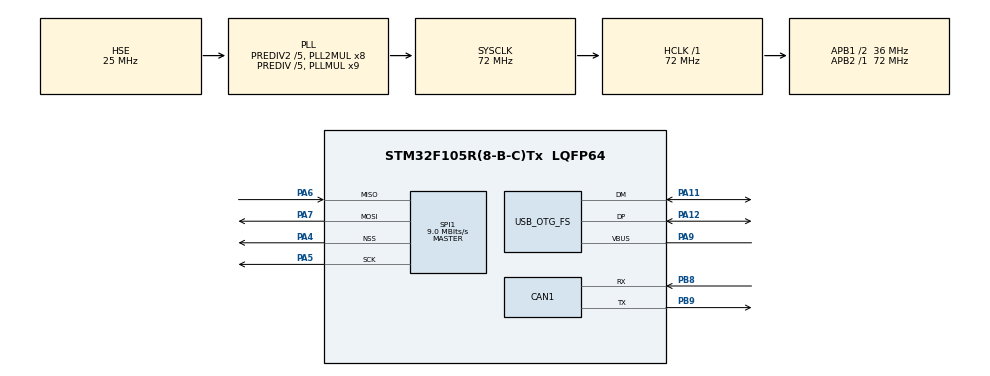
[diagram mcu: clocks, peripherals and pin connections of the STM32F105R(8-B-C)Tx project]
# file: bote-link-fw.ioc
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CAN1.CalculateTimeBit=1333
CAN1.CalculateTimeQuantum=444.44444444444446
Mcu.Family=STM32F1
Mcu.Name=STM32F105R(8-B-C)Tx
Mcu.Package=LQFP64
NVIC.OTG_FS_IRQn=true\:0\:0\:false\:false\:true\:false\:true
NVIC.PriorityGroup=NVIC_PRIORITYGROUP_4
PA11.Mode=Device_Only
PA11.Signal=USB_OTG_FS_DM
PA12.Mode=Device_Only
PA12.Signal=USB_OTG_FS_DP
PA13.Mode=Trace_Asynchronous_SW
PA13.Signal=SYS_JTMS-SWDIO
PA14.Mode=Trace_Asynchronous_SW
PA14.Signal=SYS_JTCK-SWCLK
PA4.Mode=NSS_Signal_Hard_Output
PA4.Signal=SPI1_NSS
PA5.Mode=Full_Duplex_Master
PA5.Signal=SPI1_SCK
PA6.Mode=Full_Duplex_Master
PA6.Signal=SPI1_MISO
PA7.Mode=Full_Duplex_Master
PA7.Signal=SPI1_MOSI
PA9.Mode=Activate_VBUS
PA9.Signal=USB_OTG_FS_VBUS
PB3.Mode=Trace_Asynchronous_SW
PB3.Signal=SYS_TRACESWO
PB8.Mode=Master
PB8.Signal=CAN1_RX
PB9.Mode=Master
PB9.Signal=CAN1_TX
PD0-OSC_IN.Mode=HSE-External-Oscillator
PD0-OSC_IN.Signal=RCC_OSC_IN
PD1-OSC_OUT.Mode=HSE-External-Oscillator
PD1-OSC_OUT.Signal=RCC_OSC_OUT
ProjectManager.HeapSize=0x200
ProjectManager.StackSize=0x400
ProjectManager.TargetToolchain=Makefile
RCC.AHBFreq_Value=72000000
RCC.APB1CLKDivider=RCC_HCLK_DIV2
RCC.APB1Freq_Value=36000000
RCC.APB1TimFreq_Value=72000000
RCC.APB2Freq_Value=72000000
RCC.APB2TimFreq_Value=72000000
RCC.HCLKFreq_Value=72000000
RCC.HSEDivPLL=RCC_HSE_PREDIV_DIV5
RCC.HSE_VALUE=25000000
RCC.PLLMUL=RCC_PLL_MUL9
RCC.Prediv1Source=RCC_PREDIV1_SOURCE_PLL2
RCC.Prediv2=RCC_HSE_PREDIV2_DIV5
RCC.SYSCLKFreq_VALUE=72000000
RCC.SYSCLKSource=RCC_SYSCLKSOURCE_PLLCLK
RCC.USBFreq_Value=48000000
SPI1.BaudRatePrescaler=SPI_BAUDRATEPRESCALER_8
SPI1.CalculateBaudRate=9.0 MBits/s
SPI1.Direction=SPI_DIRECTION_2LINES
SPI1.Mode=SPI_MODE_MASTER
SPI1.VirtualNSS=VM_NSSHARD
SPI1.VirtualType=VM_MASTER
USB_DEVICE.CLASS_NAME_FS=CDC
USB_DEVICE.VirtualMode=Cdc
USB_DEVICE.VirtualModeFS=Cdc_FS
USB_OTG_FS.VirtualMode=Device_Only
VP_FATFS_VS_Generic.Mode=User_defined
VP_USB_DEVICE_VS_USB_DEVICE_CDC_FS.Mode=CDC_FS
board=custom

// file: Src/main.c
/* USER CODE BEGIN Header */
/**
  ******************************************************************************
  * @file           : main.c
  * @brief          : Main program body
  ******************************************************************************
  * @attention
  *
  * <h2><center>&copy; Copyright (c) 2020 STMicroelectronics.
  * All rights reserved.</center></h2>
  *
  * This software component is licensed by ST under Ultimate Liberty license
  * SLA0044, the "License"; You may not use this file except in compliance with
  * the License. You may obtain a copy of the License at:
  *                             www.st.com/SLA0044
  *
  ******************************************************************************
  */
/* USER CODE END Header */

#include "main.h"
#include "fatfs.h"
#include "usb_device.h"
#include <stdarg.h>

/* USER CODE BEGIN Includes */

#include "uds.h"

/* USER CODE END Includes */

CAN_HandleTypeDef hcan1;

SPI_HandleTypeDef hspi1;

/* USER CODE BEGIN PV */

DiagnosticShims shims;
CAN_HandleTypeDef CanHandle;
CAN_TxHeaderTypeDef TxHeader;
CAN_RxHeaderTypeDef RxHeader;
uint8_t TxData[8];
uint8_t RxData[8];
uint32_t TxMailbox;

/* USER CODE END PV */

void SystemClock_Config(void);
static void MX_GPIO_Init(void);
static void MX_CAN1_Init(void);
static void MX_SPI1_Init(void);

/* USER CODE BEGIN 0 */

/** overwriten write function for swd debugging */
int _write(int file, char *ptr, int len)
{
  for (size_t i = 0; i < len; i++)
    ITM_SendChar((*ptr++));
  return len;
}

static bool UDS_Send_Can(const uint32_t arbitration_id, const uint8_t *data, const uint8_t size)
{
  return false;
}

static void UDS_Debug(const char *format, ...)
{
  va_list args;
  va_start(args, format);
  vprintf(format, args);
  printf("\r\n");
  va_end(args);
}

static void UDS_Init()
{
  shims = diagnostic_init_shims(UDS_Debug, UDS_Send_Can, NULL);
}

/* USER CODE END 0 */

int main(void)
{

  /* MCU Configuration--------------------------------------------------------*/

  /* Reset of all peripherals, Initializes the Flash interface and the Systick. */
  HAL_Init();

  /* Configure the system clock */
  SystemClock_Config();

  /* Initialize all configured peripherals */
  MX_GPIO_Init();
  MX_CAN1_Init();
  MX_SPI1_Init();
  MX_FATFS_Init();
  MX_USB_DEVICE_Init();
  /* USER CODE BEGIN 2 */
  UDS_Init();
  /* USER CODE END 2 */

  /* Infinite loop */
  while (1)
  {

  }
}

void SystemClock_Config(void)
{
  RCC_OscInitTypeDef RCC_OscInitStruct = {0};
  RCC_ClkInitTypeDef RCC_ClkInitStruct = {0};
  RCC_PeriphCLKInitTypeDef PeriphClkInit = {0};

  /** Initializes the CPU, AHB and APB busses clocks
  */
  RCC_OscInitStruct.OscillatorType = RCC_OSCILLATORTYPE_HSE;
  RCC_OscInitStruct.HSEState = RCC_HSE_ON;
  RCC_OscInitStruct.HSEPredivValue = RCC_HSE_PREDIV_DIV5;
  RCC_OscInitStruct.HSIState = RCC_HSI_ON;
  RCC_OscInitStruct.Prediv1Source = RCC_PREDIV1_SOURCE_PLL2;
  RCC_OscInitStruct.PLL.PLLState = RCC_PLL_ON;
  RCC_OscInitStruct.PLL.PLLSource = RCC_PLLSOURCE_HSE;
  RCC_OscInitStruct.PLL.PLLMUL = RCC_PLL_MUL9;
  RCC_OscInitStruct.PLL2.PLL2State = RCC_PLL2_ON;
  RCC_OscInitStruct.PLL2.PLL2MUL = RCC_PLL2_MUL8;
  RCC_OscInitStruct.PLL2.HSEPrediv2Value = RCC_HSE_PREDIV2_DIV5;
  if (HAL_RCC_OscConfig(&RCC_OscInitStruct) != HAL_OK)
  {
    Error_Handler();
  }
  /** Initializes the CPU, AHB and APB busses clocks
  */
  RCC_ClkInitStruct.ClockType = RCC_CLOCKTYPE_HCLK | RCC_CLOCKTYPE_SYSCLK | RCC_CLOCKTYPE_PCLK1 | RCC_CLOCKTYPE_PCLK2;
  RCC_ClkInitStruct.SYSCLKSource = RCC_SYSCLKSOURCE_PLLCLK;
  RCC_ClkInitStruct.AHBCLKDivider = RCC_SYSCLK_DIV1;
  RCC_ClkInitStruct.APB1CLKDivider = RCC_HCLK_DIV2;
  RCC_ClkInitStruct.APB2CLKDivider = RCC_HCLK_DIV1;

  if (HAL_RCC_ClockConfig(&RCC_ClkInitStruct, FLASH_LATENCY_2) != HAL_OK)
  {
    Error_Handler();
  }
  PeriphClkInit.PeriphClockSelection = RCC_PERIPHCLK_USB;
  PeriphClkInit.UsbClockSelection = RCC_USBCLKSOURCE_PLL_DIV3;
  if (HAL_RCCEx_PeriphCLKConfig(&PeriphClkInit) != HAL_OK)
  {
    Error_Handler();
  }
  /** Configure the Systick interrupt time
  */
  __HAL_RCC_PLLI2S_ENABLE();
}

static void MX_CAN1_Init(void)
{

  hcan1.Instance = CAN1;
  hcan1.Init.Prescaler = 16;
  hcan1.Init.Mode = CAN_MODE_NORMAL;
  hcan1.Init.SyncJumpWidth = CAN_SJW_1TQ;
  hcan1.Init.TimeSeg1 = CAN_BS1_1TQ;
  hcan1.Init.TimeSeg2 = CAN_BS2_1TQ;
  hcan1.Init.TimeTriggeredMode = DISABLE;
  hcan1.Init.AutoBusOff = DISABLE;
  hcan1.Init.AutoWakeUp = DISABLE;
  hcan1.Init.AutoRetransmission = DISABLE;
  hcan1.Init.ReceiveFifoLocked = DISABLE;
  hcan1.Init.TransmitFifoPriority = DISABLE;
  if (HAL_CAN_Init(&hcan1) != HAL_OK)
  {
    Error_Handler();
  }
}

static void MX_SPI1_Init(void)
{

  /* SPI1 parameter configuration*/
  hspi1.Instance = SPI1;
  hspi1.Init.Mode = SPI_MODE_MASTER;
  hspi1.Init.Direction = SPI_DIRECTION_2LINES;
  hspi1.Init.DataSize = SPI_DATASIZE_8BIT;
  hspi1.Init.CLKPolarity = SPI_POLARITY_LOW;
  hspi1.Init.CLKPhase = SPI_PHASE_1EDGE;
  hspi1.Init.NSS = SPI_NSS_HARD_OUTPUT;
  hspi1.Init.BaudRatePrescaler = SPI_BAUDRATEPRESCALER_8;
  hspi1.Init.FirstBit = SPI_FIRSTBIT_MSB;
  hspi1.Init.TIMode = SPI_TIMODE_DISABLE;
  hspi1.Init.CRCCalculation = SPI_CRCCALCULATION_DISABLE;
  hspi1.Init.CRCPolynomial = 10;
  if (HAL_SPI_Init(&hspi1) != HAL_OK)
  {
    Error_Handler();
  }
}

static void MX_GPIO_Init(void)
{

  /* GPIO Ports Clock Enable */
  __HAL_RCC_GPIOD_CLK_ENABLE();
  __HAL_RCC_GPIOA_CLK_ENABLE();
  __HAL_RCC_GPIOB_CLK_ENABLE();
}

void Error_Handler(void)
{
}

/************************ (C) COPYRIGHT STMicroelectronics *****END OF FILE****/
